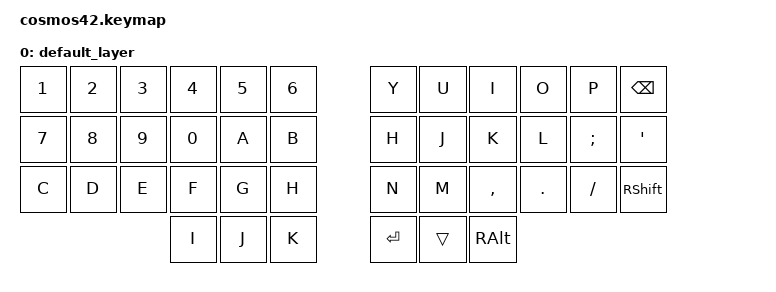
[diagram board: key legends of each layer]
#include <dt-bindings/zmk/keys.h>
#include <behaviors.dtsi>

/ {
    keymap {
        compatible = "zmk,keymap";

        default_layer {
// | ESC |  Q  |  W  |  E  |  R  |  T  |                            |  Y  |  U  |  I  |  O  |  P  | BSPC |
// | TAB |  A  |  S  |  D  |  F  |  G  |                            |  H  |  J  |  K  |  L  |  ;  |  '   |
// | SHF |  Z  |  X  |  C  |  V  |  B  |                            |  N  |  M  |  ,  |  .  |  /  | SHF  |
//                               | CMD | lwr | SPC |    | ENT | rse | ALT |

            bindings = <
&kp N1 &kp N2 &kp N3 &kp N4 &kp N5 &kp N6                             &kp Y   &kp U &kp I     &kp O   &kp P    &kp BSPC
&kp N7 &kp N8 &kp N9 &kp N0 &kp A  &kp B                              &kp H   &kp J &kp K     &kp L   &kp SEMI &kp SQT
&kp C  &kp D  &kp E  &kp F  &kp G  &kp H                              &kp N   &kp M &kp COMMA &kp DOT &kp FSLH &kp RSHIFT
                                   &kp I &kp J &kp K   &kp RET &trans &kp RALT
            >;
        };
    };
};
